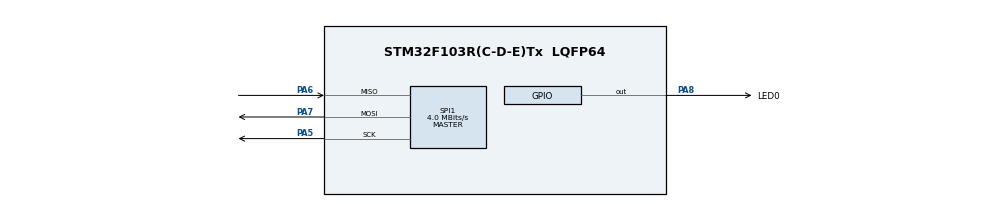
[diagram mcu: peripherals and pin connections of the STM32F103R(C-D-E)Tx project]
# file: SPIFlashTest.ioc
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Mcu.Family=STM32F1
Mcu.Name=STM32F103R(C-D-E)Tx
Mcu.Package=LQFP64
NVIC.PriorityGroup=NVIC_PRIORITYGROUP_4
NVIC.SPI1_IRQn=true\:0\:0\:false\:false\:true\:true\:true\:true
PA13.Mode=JTAG_4_pins
PA13.Signal=SYS_JTMS-SWDIO
PA14.Mode=JTAG_4_pins
PA14.Signal=SYS_JTCK-SWCLK
PA15.Mode=JTAG_4_pins
PA15.Signal=SYS_JTDI
PA5.Mode=Full_Duplex_Master
PA5.Signal=SPI1_SCK
PA6.Mode=Full_Duplex_Master
PA6.Signal=SPI1_MISO
PA7.Mode=Full_Duplex_Master
PA7.Signal=SPI1_MOSI
PA8.GPIO_Label=LED0
PA8.Signal=GPIO_Output
PB3.Mode=JTAG_4_pins
PB3.Signal=SYS_JTDO-TRACESWO
PD0-OSC_IN.Mode=HSE-External-Oscillator
PD0-OSC_IN.Signal=RCC_OSC_IN
PD1-OSC_OUT.Mode=HSE-External-Oscillator
PD1-OSC_OUT.Signal=RCC_OSC_OUT
ProjectManager.HeapSize=0x200
ProjectManager.StackSize=0x400
ProjectManager.TargetToolchain=MDK-ARM V5.32
RCC.APB1Freq_Value=8000000
RCC.APB2Freq_Value=8000000
RCC.PLLSourceVirtual=RCC_PLLSOURCE_HSE
RCC.USBFreq_Value=16000000
SPI1.BaudRatePrescaler=SPI_BAUDRATEPRESCALER_2
SPI1.CalculateBaudRate=4.0 MBits/s
SPI1.Direction=SPI_DIRECTION_2LINES
SPI1.Mode=SPI_MODE_MASTER
SPI1.VirtualType=VM_MASTER
board=custom

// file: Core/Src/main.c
/* USER CODE BEGIN Header */
/**
  ******************************************************************************
  * @file           : main.c
  * @brief          : Main program body
  ******************************************************************************
  * @attention
  *
  * Copyright (c) 2025 STMicroelectronics.
  * All rights reserved.
  *
  * This software is licensed under terms that can be found in the LICENSE file
  * in the root directory of this software component.
  * If no LICENSE file comes with this software, it is provided AS-IS.
  *
  ******************************************************************************
  */
/* USER CODE END Header */
#include "main.h"

/* USER CODE BEGIN Includes */
#include "Q25SPIxx.h"

/* USER CODE END Includes */

SPI_HandleTypeDef hspi1;

void SystemClock_Config(void);
static void MX_GPIO_Init(void);
static void MX_SPI1_Init(void);
/* USER CODE BEGIN PFP */
void HAL_SPI_RxCpltCallback(SPI_HandleTypeDef *hspi);
void SPITest (void);
/* USER CODE END PFP */

/* USER CODE BEGIN 0 */
uint32_t ID = 0;
uint8_t u8RxData[20] = {0};
/* USER CODE END 0 */

int main(void)
{

  /* MCU Configuration--------------------------------------------------------*/

  /* Reset of all peripherals, Initializes the Flash interface and the Systick. */
  HAL_Init();

  /* Configure the system clock */
  SystemClock_Config();

  /* Initialize all configured peripherals */
  MX_GPIO_Init();
  MX_SPI1_Init();
  /* USER CODE BEGIN 2 */
  if (Flash_Init())
  {
    ID = Flash_ReadJedecID();
  }

  /* USER CODE END 2 */

  /* Infinite loop */
  while (1)
  {

    /* USER CODE BEGIN 3 */

		HAL_GPIO_TogglePin(LED0_GPIO_Port, LED0_Pin);
		HAL_Delay(1000);
  }
  /* USER CODE END 3 */
}

void SystemClock_Config(void)
{
  RCC_OscInitTypeDef RCC_OscInitStruct = {0};
  RCC_ClkInitTypeDef RCC_ClkInitStruct = {0};

  /** Initializes the RCC Oscillators according to the specified parameters
  * in the RCC_OscInitTypeDef structure.
  */
  RCC_OscInitStruct.OscillatorType = RCC_OSCILLATORTYPE_HSI;
  RCC_OscInitStruct.HSIState = RCC_HSI_ON;
  RCC_OscInitStruct.HSICalibrationValue = RCC_HSICALIBRATION_DEFAULT;
  RCC_OscInitStruct.PLL.PLLState = RCC_PLL_NONE;
  if (HAL_RCC_OscConfig(&RCC_OscInitStruct) != HAL_OK)
  {
    Error_Handler();
  }

  /** Initializes the CPU, AHB and APB buses clocks
  */
  RCC_ClkInitStruct.ClockType = RCC_CLOCKTYPE_HCLK|RCC_CLOCKTYPE_SYSCLK
                              |RCC_CLOCKTYPE_PCLK1|RCC_CLOCKTYPE_PCLK2;
  RCC_ClkInitStruct.SYSCLKSource = RCC_SYSCLKSOURCE_HSI;
  RCC_ClkInitStruct.AHBCLKDivider = RCC_SYSCLK_DIV1;
  RCC_ClkInitStruct.APB1CLKDivider = RCC_HCLK_DIV1;
  RCC_ClkInitStruct.APB2CLKDivider = RCC_HCLK_DIV1;

  if (HAL_RCC_ClockConfig(&RCC_ClkInitStruct, FLASH_LATENCY_0) != HAL_OK)
  {
    Error_Handler();
  }
}

static void MX_SPI1_Init(void)
{

  /* SPI1 parameter configuration*/
  hspi1.Instance = SPI1;
  hspi1.Init.Mode = SPI_MODE_MASTER;
  hspi1.Init.Direction = SPI_DIRECTION_2LINES;
  hspi1.Init.DataSize = SPI_DATASIZE_8BIT;
  hspi1.Init.CLKPolarity = SPI_POLARITY_LOW;
  hspi1.Init.CLKPhase = SPI_PHASE_1EDGE;
  hspi1.Init.NSS = SPI_NSS_SOFT;
  hspi1.Init.BaudRatePrescaler = SPI_BAUDRATEPRESCALER_2;
  hspi1.Init.FirstBit = SPI_FIRSTBIT_MSB;
  hspi1.Init.TIMode = SPI_TIMODE_DISABLE;
  hspi1.Init.CRCCalculation = SPI_CRCCALCULATION_DISABLE;
  hspi1.Init.CRCPolynomial = 10;
  if (HAL_SPI_Init(&hspi1) != HAL_OK)
  {
    Error_Handler();
  }

}

static void MX_GPIO_Init(void)
{
  GPIO_InitTypeDef GPIO_InitStruct = {0};

  /* GPIO Ports Clock Enable */
  __HAL_RCC_GPIOD_CLK_ENABLE();
  __HAL_RCC_GPIOA_CLK_ENABLE();
  __HAL_RCC_GPIOB_CLK_ENABLE();

  /*Configure GPIO pin Output Level */
  HAL_GPIO_WritePin(LED0_GPIO_Port, LED0_Pin, GPIO_PIN_RESET);

  /*Configure GPIO pin : LED0_Pin */
  GPIO_InitStruct.Pin = LED0_Pin;
  GPIO_InitStruct.Mode = GPIO_MODE_OUTPUT_PP;
  GPIO_InitStruct.Pull = GPIO_NOPULL;
  GPIO_InitStruct.Speed = GPIO_SPEED_FREQ_LOW;
  HAL_GPIO_Init(LED0_GPIO_Port, &GPIO_InitStruct);

  /* USER CODE BEGIN MX_GPIO_Init_2 */
  GPIO_InitStruct.Pin = GPIO_PIN_2;
  GPIO_InitStruct.Mode = GPIO_MODE_OUTPUT_PP;
  GPIO_InitStruct.Pull = GPIO_NOPULL;
  GPIO_InitStruct.Speed = GPIO_SPEED_FREQ_LOW;
  HAL_GPIO_Init(GPIOA, &GPIO_InitStruct);

  //SPI select
  GPIO_InitStruct.Pin = GPIO_PIN_2;
  GPIO_InitStruct.Mode = GPIO_MODE_OUTPUT_PP;
  GPIO_InitStruct.Pull = GPIO_PULLUP;
  GPIO_InitStruct.Speed = GPIO_SPEED_FREQ_HIGH;
  HAL_GPIO_Init(GPIOA, &GPIO_InitStruct);
  /* USER CODE END MX_GPIO_Init_2 */
}

void Error_Handler(void)
{
  __disable_irq();
  while (1)
  {
  }
}
